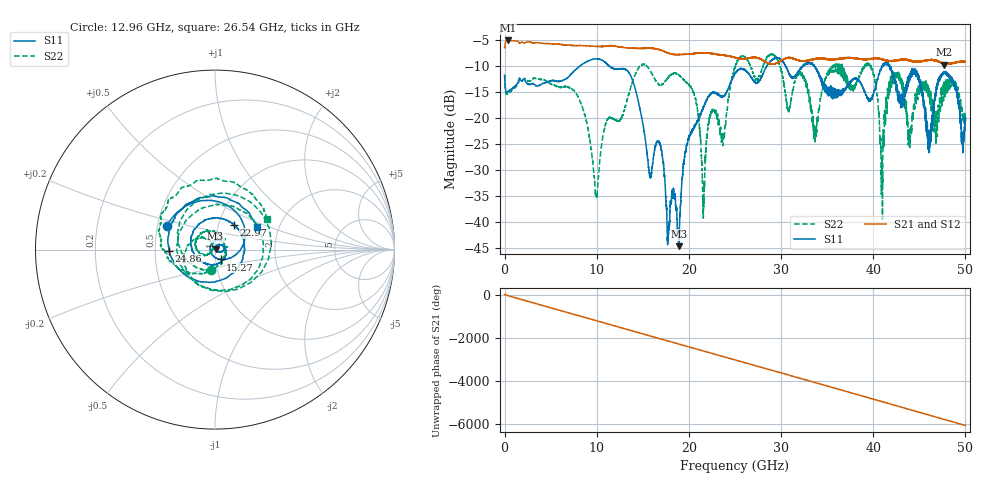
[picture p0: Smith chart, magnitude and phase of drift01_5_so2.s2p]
!Created with skrf (http://scikit-rf.org).
# Hz S RI R 50.0
!freq ReS11 ImS11 ReS21 ImS21 ReS12 ImS12 ReS22 ImS22
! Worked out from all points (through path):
!   10001 points, 300 kHz to 50 GHz, reference 50 ohm
!   highest |S21| = -5.05 dB at 380.3 MHz (marker M1); lowest = -9.7 dB at 47.67 GHz (marker M2)
!   group delay of S21, straight-line fit = 336 ps
!   lowest |S11| = -44.6 dB at 18.91 GHz (marker M3), VSWR 1.01, Z = 50.3 + j0.483 ohm
!   |S11| at or under -10 dB: start of sweep to 8.134 GHz; 11.39 GHz to 28.45 GHz (17.06 GHz wide, 85.6 % of centre); 41.79 GHz to end of sweep (the widest 3 of 14)
!   |S22| runs from -39.5 to -7.6 dB; largest |S21 - S12| = 0.012
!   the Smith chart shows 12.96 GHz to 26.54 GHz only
!   S11 on the Smith chart (normalised r, x): 12.96 GHz: 0.56, +0.16; 15.27 GHz: 1.06, -0.12; 22.97 GHz: 1.19, +0.34; 24.86 GHz: 0.59, -0.01; 26.54 GHz: 1.53, +0.42
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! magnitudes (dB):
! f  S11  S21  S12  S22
! 300 kHz  -11.7  -6.4  -6.5  -11.7
! 380.3 MHz  -14.9  -5.1  -5.1  -15.2
! 8.335 GHz  -9.7  -6.0  -6.0  -17.5
! 9.935 GHz  -8.6  -6.2  -6.2  -34.5
! 12.96 GHz  -10.5  -6.4  -6.4  -18.6
! 15.27 GHz  -24.1  -6.6  -6.6  -9.8
! 16.67 GHz  -24.3  -6.8  -6.8  -13.4
! 17.71 GHz  -43.1  -7.4  -7.4  -12.3
! 18.91 GHz  -44.6  -7.8  -7.8  -11.7
! 20.7 GHz  -21.3  -7.5  -7.5  -16.3
! 21.56 GHz  -17.8  -7.4  -7.4  -39.2
! 22.97 GHz  -15.2  -7.7  -7.7  -18.9
! 24.86 GHz  -11.9  -8.3  -8.3  -11.1
! 25 GHz  -11.4  -8.3  -8.4  -10.2
! 26.54 GHz  -11.6  -8.4  -8.4  -9.4
! 33.34 GHz  -9.6  -8.7  -8.7  -19.5
! 39.49 GHz  -16.6  -8.6  -8.6  -9.9
! 40.95 GHz  -10.1  -8.8  -8.7  -28.3
! 41.67 GHz  -9.8  -8.9  -9.0  -15.3
! 46.06 GHz  -24.6  -8.8  -8.7  -14.4
! 47.67 GHz  -11.4  -9.7  -9.6  -14.7
! 50 GHz  -20.7  -9.2  -9.2  -20.1
